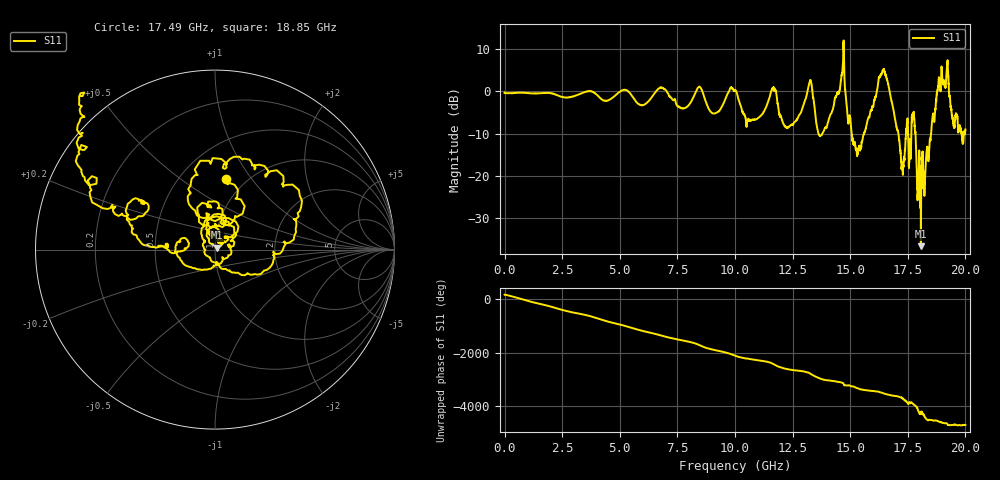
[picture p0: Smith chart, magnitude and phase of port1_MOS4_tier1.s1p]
! Created with skrf 1.8.0 (http://scikit-rf.org).
# GHz S RI R 50.0
!freq ReS11 ImS11
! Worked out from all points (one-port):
!   10001 points, 1 MHz to 20 GHz, reference 50 ohm
!   lowest |S11| = -36.6 dB at 18.07 GHz (marker M1), VSWR 1.03, Z = 50.9 + j1.18 ohm
!   |S11| at or under -10 dB: 15.06 GHz to 15.6 GHz (536.1 MHz wide, 3.5 % of centre); 17.09 GHz to 17.42 GHz (327.6 MHz wide, 1.9 % of centre); 17.84 GHz to 18.51 GHz (677.9 MHz wide, 3.73 % of centre) (the widest 3 of 9)
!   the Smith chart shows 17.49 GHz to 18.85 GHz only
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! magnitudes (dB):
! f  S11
! 1 MHz  -0.4
! 2.501 GHz  -1.4
! 5.001 GHz  -0.1
! 6.823 GHz  0.9
! 7.501 GHz  -3.5
! 8.459 GHz  1.1
! 9.131 GHz  -5.2
! 10 GHz  0.1
! 10.58 GHz  -6.6
! 11.69 GHz  0.5
! 12.12 GHz  -7.9
! 12.5 GHz  -7.9
! 13.26 GHz  2.5
! 13.77 GHz  -10.3
! 14.67 GHz  5.2
! 15 GHz  -6.3
! 15.38 GHz  -13.1
! 16.45 GHz  5.2
! 17.26 GHz  -17.3
! 17.5 GHz  -8.6
! 17.75 GHz  -5.7
! 17.98 GHz  -17.9
! 18.07 GHz  -36.6
! 18.16 GHz  -18.3
! 18.91 GHz  0.0
! 19.19 GHz  5.0
! 19.45 GHz  -6.2
! 20 GHz  -9.0
